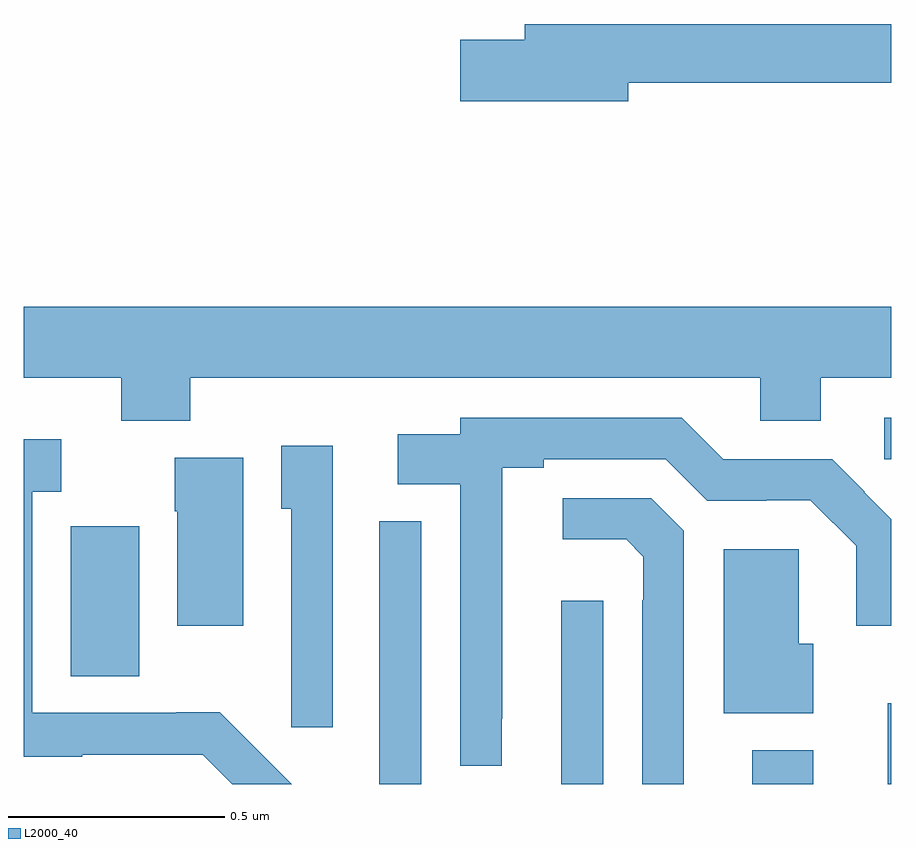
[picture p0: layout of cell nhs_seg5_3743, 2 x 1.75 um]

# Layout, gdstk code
import gdstk
lib = gdstk.Library(unit=1e-6, precision=1e-09)
def R(c, l, rs):  # rectangles x0, y0, x1, y1
    for r in rs: c.add(gdstk.rectangle(r[:2], r[2:], *l))
def P(c, l, *ps):  # polygons
    for p in ps: c.add(gdstk.Polygon(p, *l))
L2000_40 = (2000, 40)

nhs_seg5_3743 = lib.new_cell('nhs_seg5_3743')
R(nhs_seg5_3743, L2000_40, [(161.82,879.799,161.916,880.405), (162.239,879.799,162.336,880.222), (162.68,879.799,162.82,879.877), (162.992,879.799,163,879.985), (161.108,880.048,161.266,880.393), (162.984,880.548,163,880.644)])
P(nhs_seg5_3743, L2000_40, [(162.394,881.416),(163,881.416),(163,881.552),(162.155,881.552),(162.155,881.516),(162.006,881.516),(162.006,881.374),(162.394,881.374)],
  [(161.384,880.736),(162.698,880.736),(162.698,880.637),(162.838,880.637),(162.838,880.736),(163,880.736),(163,880.9),(161,880.9),(161,880.736),(161.224,880.736),(161.224,880.637),(161.384,880.637)],
  [(162.102,879.949),(162.103,879.949),(162.103,880.528),(162.199,880.528),(162.199,880.548),(162.48,880.548),(162.576,880.452),(162.712,880.452),(162.712,880.454),(162.814,880.454),(162.92,880.349),(162.92,880.164),(163,880.164),(163,880.41),(162.938,880.472),(162.939,880.473),(162.864,880.548),(162.613,880.548),(162.517,880.644),(162.006,880.644),(162.006,880.606),(161.862,880.606),(161.862,880.49),(162.006,880.49),(162.006,879.841),(162.102,879.841)],
  [(161.452,879.965),(161.351,879.965),(161.351,879.963),(161.019,879.963),(161.019,880.473),(161.086,880.473),(161.086,880.594),(161,880.594),(161,879.862),(161.135,879.862),(161.135,879.867),(161.412,879.867),(161.481,879.799),(161.618,879.799)],
  [(161.712,880.579),(161.594,880.579),(161.594,880.434),(161.616,880.434),(161.616,879.93),(161.712,879.93)],
  [(161.506,880.552),(161.348,880.552),(161.348,880.428),(161.354,880.428),(161.354,880.164),(161.506,880.164)],
  [(162.522,880.383),(162.447,880.458),(162.243,880.458),(162.243,880.364),(162.389,880.364),(162.429,880.323),(162.429,880.223),(162.426,880.223),(162.426,879.799),(162.522,879.799)],
  [(162.82,880.123),(162.787,880.123),(162.787,880.341),(162.614,880.341),(162.614,879.962),(162.82,879.962)])

lib.write_gds('nhs_seg5_3743.gds')
